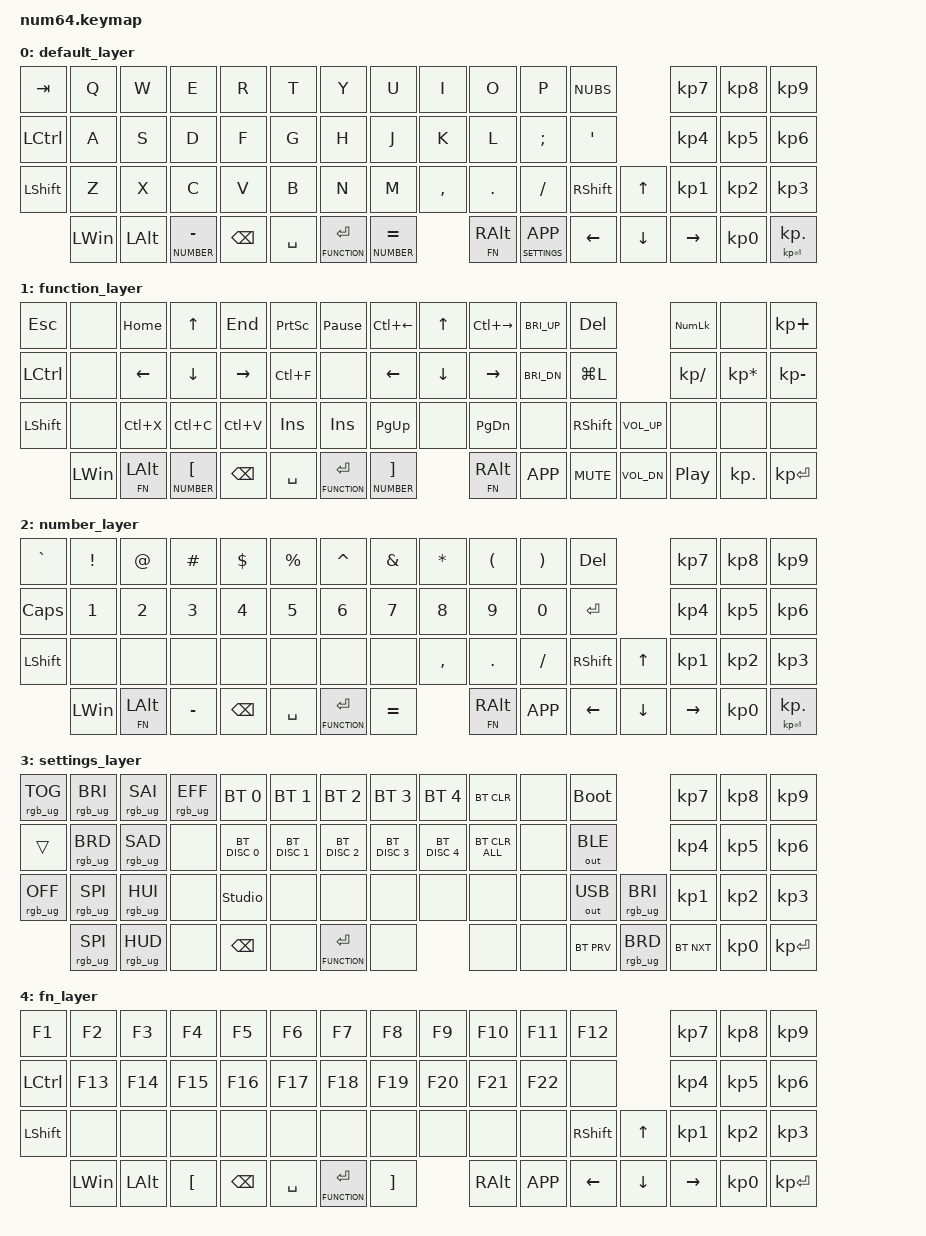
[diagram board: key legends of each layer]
/*
 * Copyright (c) 2022 The ZMK Contributors
 *
 * SPDX-License-Identifier: MIT
 */

#include <behaviors.dtsi>
#include <dt-bindings/zmk/keys.h>
#include <dt-bindings/zmk/outputs.h>
#include <dt-bindings/zmk/bt.h>
#include <dt-bindings/zmk/rgb.h>

#define DEFAULT 0
#define FUNCTION 1
#define NUMBER 2
#define SETTINGS 3
#define FN 4

&led_strip { chain-length = <1>; };

/ {

keymap {
        compatible = "zmk,keymap";

        default_layer {
            bindings = <
                &kp TAB       &kp Q      &kp W        &kp E               &kp R      &kp T   &kp Y      &kp  U               &kp I             &kp O        &kp P                &kp NUBS              &kp KP_N7  &kp KP_N8  &kp KP_N9
                &kp LCTRL     &kp A      &kp S        &kp D               &kp F      &kp G   &kp H      &kp  J               &kp K             &kp L        &kp SEMI             &kp SQT               &kp KP_N4  &kp KP_N5  &kp KP_N6
                &kp LSHIFT    &kp Z      &kp X        &kp C               &kp V      &kp B   &kp N      &kp  M               &kp COMMA         &kp DOT      &kp FSLH             &kp RSHIFT  &kp UP    &kp KP_N1  &kp KP_N2  &kp KP_N3
                              &kp LWIN   &kp LALT     &lt NUMBER MINUS    &kp BSPC           &kp SPACE  &lt FUNCTION ENTER   &lt NUMBER EQUAL  &lt FN RALT  &lt SETTINGS K_APP   &kp LEFT    &kp DOWN  &kp RIGHT   &kp KP_N0  &mt KP_ENTER KP_DOT
            >;
         };
        function_layer {
            bindings = <
                &kp ESC      &none      &kp HOME     &kp UP           &kp END      &kp PSCRN  &kp PAUSE_BREAK   &kp  LC(LEFT)       &kp UP           &kp LC(RIGHT) &kp C_BRI_UP  &kp DEL                   &kp KP_NUM     &none            &kp KP_PLUS
                &kp LCTRL    &none      &kp LEFT     &kp DOWN         &kp RIGHT    &kp LC(F)  &none             &kp  LEFT           &kp DOWN         &kp RIGHT     &kp C_BRI_DN  &kp LG(L)                 &kp KP_DIVIDE  &kp KP_MULTIPLY  &kp KP_MINUS
                &kp LSHIFT   &none      &kp LC(X)    &kp LC(C)        &kp LC(V)    &kp INS    &kp INS           &kp  PG_UP          &none            &kp PG_DN     &none         &kp RSHIFT  &kp C_VOL_UP  &none          &none            &none
                             &kp LWIN   &lt FN LALT  &lt NUMBER LBKT  &kp BSPC                &kp SPACE         &lt FUNCTION ENTER  &lt NUMBER RBKT  &lt FN RALT   &kp K_APP     &kp C_MUTE  &kp C_VOL_DN  &kp C_PP       &kp KP_DOT       &kp KP_ENTER
            >;
         };
        number_layer {
            bindings = <
                &kp GRAVE     &kp EXCL   &kp AT       &kp HASH      &kp DOLLAR         &kp PERCENT    &kp CARET    &kp  AMPS            &kp ASTERISK     &kp LPAR     &kp RPAR   &kp DEL             &kp KP_N7  &kp KP_N8  &kp KP_N9
                &kp CAPS      &kp N1     &kp N2       &kp N3        &kp N4             &kp N5         &kp N6       &kp N7               &kp N8           &kp N9       &kp N0     &kp ENTER           &kp KP_N4  &kp KP_N5  &kp KP_N6
                &kp LSHIFT    &none      &none        &none         &none              &none          &none        &none                &kp COMMA        &kp DOT      &kp FSLH   &kp RSHIFT &kp UP   &kp KP_N1  &kp KP_N2  &kp KP_N3
                              &kp LWIN   &lt FN LALT  &kp MINUS     &kp BSPC                          &kp SPACE    &lt FUNCTION ENTER   &kp EQUAL        &lt FN RALT  &kp K_APP  &kp LEFT   &kp DOWN &kp RIGHT  &kp KP_N0  &mt KP_ENTER KP_DOT
            >;
         };
        settings_layer {
            bindings = <
                &rgb_ug RGB_TOG   &rgb_ug RGB_BRI   &rgb_ug RGB_SAI   &rgb_ug RGB_EFF   &bt BT_SEL 0      &bt BT_SEL 1   &bt BT_SEL 2   &bt BT_SEL 3         &bt BT_SEL 4   &bt BT_CLR      &none   &bootloader                   &kp KP_N7   &kp KP_N8  &kp KP_N9
                &trans            &rgb_ug RGB_BRD   &rgb_ug RGB_SAD   &none             &bt BT_DISC 0     &bt BT_DISC 1  &bt BT_DISC 2  &bt BT_DISC 3        &bt BT_DISC 4  &bt BT_CLR_ALL  &none   &out OUT_BLE                  &kp KP_N4   &kp KP_N5  &kp KP_N6
                &rgb_ug RGB_OFF   &rgb_ug RGB_SPI   &rgb_ug RGB_HUI   &none             &studio_unlock    &none          &none          &none                &none          &none           &none   &out OUT_USB  &rgb_ug RGB_BRI &kp KP_N1   &kp KP_N2  &kp KP_N3
                                  &rgb_ug RGB_SPI   &rgb_ug RGB_HUD   &none             &kp BSPC                         &none          &lt FUNCTION ENTER   &none          &none           &none   &bt BT_PRV    &rgb_ug RGB_BRD &bt BT_NXT  &kp KP_N0  &kp KP_ENTER
            >;
         };
        fn_layer {
            bindings = <
                &kp F1        &kp F2     &kp F3     &kp F4        &kp F5               &kp F6            &kp F7             &kp  F8              &kp F9     &kp F10   &kp F11   &kp F12             &kp KP_N7  &kp KP_N8  &kp KP_N9
                &kp LCTRL     &kp F13    &kp F14    &kp F15       &kp F16              &kp F17           &kp F18            &kp F19              &kp F20    &kp F21   &kp F22   &none               &kp KP_N4  &kp KP_N5  &kp KP_N6
                &kp LSHIFT    &none      &none      &none         &none                &none             &none              &none                &none      &none     &none     &kp RSHIFT &kp UP   &kp KP_N1  &kp KP_N2  &kp KP_N3
                              &kp LWIN   &kp LALT   &kp LBKT      &kp BSPC                               &kp SPACE          &lt FUNCTION ENTER   &kp RBKT   &kp RALT  &kp K_APP &kp LEFT   &kp DOWN &kp RIGHT  &kp KP_N0  &kp KP_ENTER
            >;
         };
        studio1_layer {
            status = "reserved";
        };
        studio2_layer {
            status = "reserved";
        };
        studio3_layer {
            status = "reserved";
        };
        studio4_layer {
            status = "reserved";
        };
        studio5_layer {
            status = "reserved";
        };
    };
};
 

